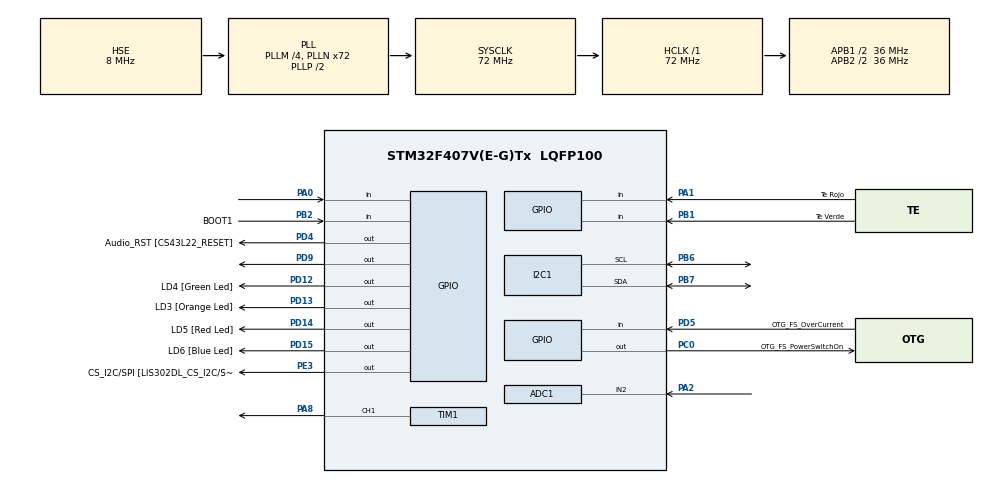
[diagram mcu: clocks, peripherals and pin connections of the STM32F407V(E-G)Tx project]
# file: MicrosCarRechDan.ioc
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ADC1.Channel-0\#ChannelRegularConversion=ADC_CHANNEL_2
ADC1.NbrOfConversionFlag=1
ADC1.Rank-0\#ChannelRegularConversion=1
ADC1.SamplingTime-0\#ChannelRegularConversion=ADC_SAMPLETIME_3CYCLES
ADC1.master=1
Mcu.Family=STM32F4
Mcu.Name=STM32F407V(E-G)Tx
Mcu.Package=LQFP100
NVIC.PriorityGroup=NVIC_PRIORITYGROUP_0
NVIC.TIM6_DAC_IRQn=true\:0\:0\:false\:false\:true\:true\:true\:true
NVIC.TIM7_IRQn=true\:0\:0\:false\:false\:true\:true\:true\:true
PA0-WKUP.Signal=GPIO_Input
PA1.GPIO_Label=Te Rojo
PA1.GPIO_PuPd=GPIO_PULLDOWN
PA1.Signal=GPIO_Input
PA10.GPIO_Label=OTG_FS_ID
PA10.GPIO_Mode=GPIO_MODE_AF_PP
PA10.GPIO_PuPd=GPIO_NOPULL
PA10.GPIO_Speed=GPIO_SPEED_FREQ_LOW
PA10.Signal=USB_OTG_FS_ID
PA11.GPIO_Label=OTG_FS_DM
PA11.GPIO_Mode=GPIO_MODE_AF_PP
PA11.GPIO_PuPd=GPIO_NOPULL
PA11.GPIO_Speed=GPIO_SPEED_FREQ_LOW
PA11.Signal=USB_OTG_FS_DM
PA12.GPIO_Label=OTG_FS_DP
PA12.GPIO_Mode=GPIO_MODE_AF_PP
PA12.GPIO_PuPd=GPIO_NOPULL
PA12.GPIO_Speed=GPIO_SPEED_FREQ_LOW
PA12.Signal=USB_OTG_FS_DP
PA13.GPIO_Label=SWDIO
PA13.Mode=Serial_Wire
PA13.Signal=SYS_JTMS-SWDIO
PA14.GPIO_Label=SWCLK
PA14.Mode=Serial_Wire
PA14.Signal=SYS_JTCK-SWCLK
PA2.Signal=SharedAnalog_PA2
PA4.GPIO_Label=I2S3_WS [CS43L22_LRCK]
PA4.GPIO_Mode=GPIO_MODE_AF_PP
PA4.GPIO_PuPd=GPIO_NOPULL
PA4.GPIO_Speed=GPIO_SPEED_FREQ_LOW
PA4.Signal=I2S3_WS
PA5.GPIO_Label=SPI1_SCK [LIS302DL_SCL/SPC]
PA5.GPIO_Mode=GPIO_MODE_AF_PP
PA5.GPIO_PuPd=GPIO_NOPULL
PA5.GPIO_Speed=GPIO_SPEED_FREQ_LOW
PA5.Signal=SPI1_SCK
PA6.GPIO_Label=SPI1_MISO [LIS302DL_SDO]
PA6.GPIO_Mode=GPIO_MODE_AF_PP
PA6.GPIO_PuPd=GPIO_NOPULL
PA6.GPIO_Speed=GPIO_SPEED_FREQ_LOW
PA6.Signal=SPI1_MISO
PA7.GPIO_Label=SPI1_MOSI [LIS302DL_SDA/SDI/SDO]
PA7.GPIO_Mode=GPIO_MODE_AF_PP
PA7.GPIO_PuPd=GPIO_NOPULL
PA7.GPIO_Speed=GPIO_SPEED_FREQ_LOW
PA7.Signal=SPI1_MOSI
PA8.Signal=S_TIM1_CH1
PA9.GPIO_Label=VBUS_FS
PA9.GPIO_Mode=GPIO_MODE_INPUT
PA9.GPIO_PuPd=GPIO_NOPULL
PA9.Signal=USB_OTG_FS_VBUS
PB1.GPIO_Label=Te Verde
PB1.GPIO_PuPd=GPIO_PULLDOWN
PB1.Signal=GPIO_Input
PB10.GPIO_Label=CLK_IN [MP45DT02_CLK]
PB10.GPIO_Mode=GPIO_MODE_AF_PP
PB10.GPIO_PuPd=GPIO_NOPULL
PB10.GPIO_Speed=GPIO_SPEED_FREQ_LOW
PB10.Signal=I2S2_CK
PB2.GPIO_Label=BOOT1
PB2.GPIO_Mode=GPIO_MODE_INPUT
PB2.GPIO_PuPd=GPIO_NOPULL
PB2.Signal=GPIO_Input
PB3.GPIO_Label=SWO
PB3.Signal=SYS_JTDO-SWO
PB6.GPIO_Pu=GPIO_PULLUP
PB6.Mode=I2C
PB6.Signal=I2C1_SCL
PB7.GPIO_Pu=GPIO_PULLUP
PB7.Mode=I2C
PB7.Signal=I2C1_SDA
PC0.GPIO_Label=OTG_FS_PowerSwitchOn
PC0.GPIO_PuPd=GPIO_NOPULL
PC0.GPIO_Speed=GPIO_SPEED_FREQ_LOW
PC0.PinState=GPIO_PIN_SET
PC0.Signal=GPIO_Output
PC10.GPIO_Label=I2S3_SCK [CS43L22_SCLK]
PC10.GPIO_Mode=GPIO_MODE_AF_PP
PC10.GPIO_PuPd=GPIO_NOPULL
PC10.GPIO_Speed=GPIO_SPEED_FREQ_LOW
PC10.Signal=I2S3_CK
PC12.GPIO_Label=I2S3_SD [CS43L22_SDIN]
PC12.GPIO_Mode=GPIO_MODE_AF_PP
PC12.GPIO_PuPd=GPIO_NOPULL
PC12.GPIO_Speed=GPIO_SPEED_FREQ_LOW
PC12.Signal=I2S3_SD
PC14-OSC32_IN.GPIO_Label=PC14-OSC32_IN
PC14-OSC32_IN.Signal=RCC_OSC32_IN
PC15-OSC32_OUT.GPIO_Label=PC15-OSC32_OUT
PC15-OSC32_OUT.Signal=RCC_OSC32_OUT
PC3.GPIO_Label=PDM_OUT [MP45DT02_DOUT]
PC3.GPIO_Mode=GPIO_MODE_AF_PP
PC3.GPIO_PuPd=GPIO_NOPULL
PC3.GPIO_Speed=GPIO_SPEED_FREQ_LOW
PC3.Signal=I2S2_SD
PD12.GPIO_Label=LD4 [Green Led]
PD12.GPIO_PuPd=GPIO_NOPULL
PD12.GPIO_Speed=GPIO_SPEED_FREQ_LOW
PD12.Signal=GPIO_Output
PD13.GPIO_Label=LD3 [Orange Led]
PD13.GPIO_PuPd=GPIO_NOPULL
PD13.GPIO_Speed=GPIO_SPEED_FREQ_LOW
PD13.Signal=GPIO_Output
PD14.GPIO_Label=LD5 [Red Led]
PD14.GPIO_PuPd=GPIO_NOPULL
PD14.GPIO_Speed=GPIO_SPEED_FREQ_LOW
PD14.Signal=GPIO_Output
PD15.GPIO_Label=LD6 [Blue Led]
PD15.GPIO_PuPd=GPIO_NOPULL
PD15.GPIO_Speed=GPIO_SPEED_FREQ_LOW
PD15.Signal=GPIO_Output
PD4.GPIO_Label=Audio_RST [CS43L22_RESET]
PD4.GPIO_PuPd=GPIO_NOPULL
PD4.GPIO_Speed=GPIO_SPEED_FREQ_LOW
PD4.Signal=GPIO_Output
PD5.GPIO_Label=OTG_FS_OverCurrent
PD5.GPIO_Mode=GPIO_MODE_INPUT
PD5.GPIO_PuPd=GPIO_NOPULL
PD5.Signal=GPIO_Input
PD9.Signal=GPIO_Output
PE3.GPIO_Label=CS_I2C/SPI [LIS302DL_CS_I2C/SPI]
PE3.GPIO_PuPd=GPIO_NOPULL
PE3.GPIO_Speed=GPIO_SPEED_FREQ_LOW
PE3.Signal=GPIO_Output
PH0-OSC_IN.GPIO_Label=PH0-OSC_IN
PH0-OSC_IN.Mode=HSE-External-Oscillator
PH0-OSC_IN.Signal=RCC_OSC_IN
PH1-OSC_OUT.GPIO_Label=PH1-OSC_OUT
PH1-OSC_OUT.Mode=HSE-External-Oscillator
PH1-OSC_OUT.Signal=RCC_OSC_OUT
ProjectManager.HeapSize=0x200
ProjectManager.StackSize=0x400
ProjectManager.TargetToolchain=STM32CubeIDE
RCC.48MHZClocksFreq_Value=20571428.57142857
RCC.AHBFreq_Value=72000000
RCC.APB1CLKDivider=RCC_HCLK_DIV2
RCC.APB1Freq_Value=36000000
RCC.APB1TimFreq_Value=72000000
RCC.APB2CLKDivider=RCC_HCLK_DIV2
RCC.APB2Freq_Value=36000000
RCC.APB2TimFreq_Value=72000000
RCC.CortexFreq_Value=72000000
RCC.HCLKFreq_Value=72000000
RCC.HSE_VALUE=8000000
RCC.HSI_VALUE=16000000
RCC.LSE_VALUE=32768
RCC.PLLM=4
RCC.PLLN=72
RCC.PLLQ=7
RCC.PLLSourceVirtual=RCC_PLLSOURCE_HSE
RCC.SYSCLKFreq_VALUE=72000000
RCC.SYSCLKSource=RCC_SYSCLKSOURCE_PLLCLK
RCC.VCOOutputFreq_Value=144000000
SH.S_TIM1_CH1.0=TIM1_CH1,PWM Generation1 CH1
SH.SharedAnalog_PA2.0=GPIO_Analog
SH.SharedAnalog_PA2.1=ADC1_IN2,IN2
TIM1.Channel-PWM\ Generation1\ CH1=TIM_CHANNEL_1
TIM1.Period=20000-1
TIM1.Prescaler=72-1
TIM1.Pulse-PWM\ Generation1\ CH1=500
TIM6.AutoReloadPreload=TIM_AUTORELOAD_PRELOAD_DISABLE
TIM6.Period=29999
TIM6.Prescaler=7200-1
TIM7.Period=60000-1
TIM7.Prescaler=7200-1
VP_TIM1_VS_ClockSourceINT.Mode=Internal
VP_TIM6_VS_ClockSourceINT.Mode=Enable_Timer
VP_TIM7_VS_ClockSourceINT.Mode=Enable_Timer
board=STM32F407G-DISC1

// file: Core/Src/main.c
/* USER CODE BEGIN Header */
/**
  ******************************************************************************
  * @file           : main.c
  * @brief          : Main program body
  ******************************************************************************
  * @attention
  *
  * Copyright (c) 2024 STMicroelectronics.
  * All rights reserved.
  *
  * This software is licensed under terms that can be found in the LICENSE file
  * in the root directory of this software component.
  * If no LICENSE file comes with this software, it is provided AS-IS.
  *
  ******************************************************************************
  */
/* USER CODE END Header */
#include "main.h"

/* USER CODE BEGIN Includes */
#include "i2c-lcd.h"
#include "stdio.h"

/* USER CODE END Includes */

ADC_HandleTypeDef hadc1;

I2C_HandleTypeDef hi2c1;

TIM_HandleTypeDef htim1;
TIM_HandleTypeDef htim6;
TIM_HandleTypeDef htim7;

/* USER CODE BEGIN PV */

int16_t potval = 0;
volatile uint8_t estado = 0;
uint8_t te_elegido = 0;
volatile uint8_t esta_abajo = 0;
uint8_t temperatura = 0;

/* USER CODE END PV */

void SystemClock_Config(void);
static void MX_GPIO_Init(void);
static void MX_ADC1_Init(void);
static void MX_TIM6_Init(void);
static void MX_I2C1_Init(void);
static void MX_TIM1_Init(void);
static void MX_TIM7_Init(void);

/* USER CODE BEGIN 0 */
void HAL_TIM_PeriodElapsedCallback(TIM_HandleTypeDef* htim){
	if (htim->Instance == TIM6){

		// SUBIR BOLSA (SERVO A 0º)
		__HAL_TIM_SetCompare(&htim1, TIM_CHANNEL_1, 500);

		esta_abajo = 0;
		estado = 5;
	}

	else if (htim->Instance == TIM7){

		// SUBIR BOLSA (SERVO A 0º)
		__HAL_TIM_SetCompare(&htim1, TIM_CHANNEL_1, 500);

		esta_abajo = 0;
		estado = 5;
	}
}

uint8_t NoRebotes_ReadPin(GPIO_TypeDef *GPIOx, uint16_t GPIO_Pin) {
    static uint32_t ultimo_tick = 0; // Almacena el último tick
    static uint8_t cuenta = 0; // Contador de pulsaciones válidas
    static uint8_t estado = 0; // Estado actual del botón

    // Leemos el estado actual del pin
    if (HAL_GPIO_ReadPin(GPIOx, GPIO_Pin) == GPIO_PIN_SET) {
        // Si el tiempo transcurrido es mayor a 20 ms
        if (HAL_GetTick() - ultimo_tick > 20) {
            ultimo_tick = HAL_GetTick();
            if (HAL_GPIO_ReadPin(GPIOx, GPIO_Pin) == GPIO_PIN_RESET) {
                cuenta = 0;
            } else {
                cuenta++;
            }

            // Si el botón es presionado 3 veces consecutivas
            if (cuenta == 3) {
                cuenta = 0;
                estado = !estado; // Cambiamos el estado del botón
            }
        }
    }

    return estado; // Devolvemos el estado del botón
}

int fila=0;
int col=0;

/* USER CODE END 0 */

int main(void)
{

  /* MCU Configuration--------------------------------------------------------*/

  /* Reset of all peripherals, Initializes the Flash interface and the Systick. */
  HAL_Init();

  /* Configure the system clock */
  SystemClock_Config();

  /* Initialize all configured peripherals */
  MX_GPIO_Init();
  MX_ADC1_Init();
  MX_TIM6_Init();
  MX_I2C1_Init();
  MX_TIM1_Init();
  MX_TIM7_Init();
  /* USER CODE BEGIN 2 */

  HAL_ADC_Start_IT(&hadc1);
  HAL_TIM_PWM_Start(&htim1, TIM_CHANNEL_1);

  /* USER CODE END 2 */

  /* Infinite loop */
  while (1)
  {

    /* USER CODE BEGIN 3 */

	  switch (estado){
	  	  case 0: // ELECCION DE TE

	  		__HAL_TIM_SetCompare(&htim1, TIM_CHANNEL_1, 500);

	  		  lcd_init();
	  		  lcd_clear();
	  		  lcd_cur(0, 0);
	  		  lcd_enviar_string ("(1) TE ROJO");
	  		  lcd_cur(1, 0);
	  		  lcd_enviar_string("(2)TE VERDE");

	  		  // Te Rojo
	  		  if(NoRebotes_ReadPin(GPIOA, GPIO_PIN_1) == GPIO_PIN_SET){
	  			  estado = 1;
	  			  te_elegido = 0;
	  		  }

	  		  // Te Verde
	  		  else if(NoRebotes_ReadPin(GPIOB, GPIO_PIN_1) == GPIO_PIN_SET){
	  			  estado = 2;
	  			  te_elegido = 1;

	  		  }

	  		  break;

		  case 1: //ELEGIMOS EL TÉ ROJO
			  lcd_init();
			  lcd_clear();
			  lcd_cur(0, 0);
			  lcd_enviar_string ("TE ROJO");
			  lcd_cur(1, 0);
			  lcd_enviar_string("Pulse USER");

			  if (NoRebotes_ReadPin(GPIOA, GPIO_PIN_0) == GPIO_PIN_SET) {
				  temperatura = (uint8_t)2000;
				  estado = 3;
			  }

			  break;
		  case 2: //ELEGIMOS EL TÉ VERDE
			  lcd_init();
			  lcd_clear();
			  lcd_cur(0, 0);
			  lcd_enviar_string ("TE VERDE");
			  lcd_cur(1, 0);
			  lcd_enviar_string("Pulse USER");

			  if (NoRebotes_ReadPin(GPIOA, GPIO_PIN_0) == GPIO_PIN_SET) {
				  temperatura = (uint8_t)3500;
				  estado = 3;
			  }
			  break;
		  case 3: // CALENTAR PLACA
			  lcd_init();
			  lcd_clear();
			  lcd_cur(0, 0);
			  lcd_enviar_string ("Preparando...");
			  lcd_cur(1, 0);
			  lcd_enviar_string("por favor espere");

			  // ENCENDEMOS PLACA
			  HAL_GPIO_WritePin(GPIOD, GPIO_PIN_9, 1);

			  // MEDIMOS TEMPERATURA
			  HAL_ADC_Start(&hadc1);

			  if(HAL_ADC_PollForConversion(&hadc1, 200)==HAL_OK){
				  potval = HAL_ADC_GetValue(&hadc1);
			  }

			  if(potval >= temperatura) {
				  // APAGAMOS PLACA
				  HAL_GPIO_WritePin(GPIOD, GPIO_PIN_9, 0);
				  potval = 0;
				  estado = 4;
			  }
			  break;
		  case 4: // MOVER BOLSA DE TE

			 lcd_init();
			 lcd_clear();
			 lcd_cur(0, 0);
			 lcd_enviar_string ("Preparando...");
			 lcd_cur(1, 0);
			 lcd_enviar_string("por favor espere");

			 if(esta_abajo == 0){

				 __HAL_TIM_SetCompare(&htim1, TIM_CHANNEL_1, 2500);
				 esta_abajo = 1;

				 if(te_elegido == 0)
					 HAL_TIM_Base_Start_IT(&htim6);
				 else if(te_elegido == 1)
					 HAL_TIM_Base_Start_IT(&htim7);

				 /*

				 Este sería el código sin temporizadores con interrupciones

				 if(te_elegido == 0)
					 HAL_Delay(3000);
				 else if(te_elegido == 1)
					 HAL_Delay(6000);
				 __HAL_TIM_SetCompare(&htim1, TIM_CHANNEL_1, 500);
				 estado = 5;

				 */

			  }

			  break;
		  case 5: //FINALIZA LA PREPARACIÓN DEL TÉ

			  // LA PLACA ENSEÑA "Tu te esta listo"
			  lcd_init();
			  lcd_clear();
			  lcd_cur(0, 0);
			  lcd_enviar_string ("Listo!");
			  lcd_cur(1, 0);
			  lcd_enviar_string("retire taza");
			  break;
	  }

  }
  /* USER CODE END 3 */
}

void SystemClock_Config(void)
{
  RCC_OscInitTypeDef RCC_OscInitStruct = {0};
  RCC_ClkInitTypeDef RCC_ClkInitStruct = {0};

  /** Configure the main internal regulator output voltage
  */
  __HAL_RCC_PWR_CLK_ENABLE();
  __HAL_PWR_VOLTAGESCALING_CONFIG(PWR_REGULATOR_VOLTAGE_SCALE1);

  /** Initializes the RCC Oscillators according to the specified parameters
  * in the RCC_OscInitTypeDef structure.
  */
  RCC_OscInitStruct.OscillatorType = RCC_OSCILLATORTYPE_HSE;
  RCC_OscInitStruct.HSEState = RCC_HSE_ON;
  RCC_OscInitStruct.PLL.PLLState = RCC_PLL_ON;
  RCC_OscInitStruct.PLL.PLLSource = RCC_PLLSOURCE_HSE;
  RCC_OscInitStruct.PLL.PLLM = 4;
  RCC_OscInitStruct.PLL.PLLN = 72;
  RCC_OscInitStruct.PLL.PLLP = RCC_PLLP_DIV2;
  RCC_OscInitStruct.PLL.PLLQ = 7;
  if (HAL_RCC_OscConfig(&RCC_OscInitStruct) != HAL_OK)
  {
    Error_Handler();
  }

  /** Initializes the CPU, AHB and APB buses clocks
  */
  RCC_ClkInitStruct.ClockType = RCC_CLOCKTYPE_HCLK|RCC_CLOCKTYPE_SYSCLK
                              |RCC_CLOCKTYPE_PCLK1|RCC_CLOCKTYPE_PCLK2;
  RCC_ClkInitStruct.SYSCLKSource = RCC_SYSCLKSOURCE_PLLCLK;
  RCC_ClkInitStruct.AHBCLKDivider = RCC_SYSCLK_DIV1;
  RCC_ClkInitStruct.APB1CLKDivider = RCC_HCLK_DIV2;
  RCC_ClkInitStruct.APB2CLKDivider = RCC_HCLK_DIV2;

  if (HAL_RCC_ClockConfig(&RCC_ClkInitStruct, FLASH_LATENCY_2) != HAL_OK)
  {
    Error_Handler();
  }
}

static void MX_ADC1_Init(void)
{

  ADC_ChannelConfTypeDef sConfig = {0};

  /** Configure the global features of the ADC (Clock, Resolution, Data Alignment and number of conversion)
  */
  hadc1.Instance = ADC1;
  hadc1.Init.ClockPrescaler = ADC_CLOCK_SYNC_PCLK_DIV2;
  hadc1.Init.Resolution = ADC_RESOLUTION_12B;
  hadc1.Init.ScanConvMode = DISABLE;
  hadc1.Init.ContinuousConvMode = DISABLE;
  hadc1.Init.DiscontinuousConvMode = DISABLE;
  hadc1.Init.ExternalTrigConvEdge = ADC_EXTERNALTRIGCONVEDGE_NONE;
  hadc1.Init.ExternalTrigConv = ADC_SOFTWARE_START;
  hadc1.Init.DataAlign = ADC_DATAALIGN_RIGHT;
  hadc1.Init.NbrOfConversion = 1;
  hadc1.Init.DMAContinuousRequests = DISABLE;
  hadc1.Init.EOCSelection = ADC_EOC_SINGLE_CONV;
  if (HAL_ADC_Init(&hadc1) != HAL_OK)
  {
    Error_Handler();
  }

  /** Configure for the selected ADC regular channel its corresponding rank in the sequencer and its sample time.
  */
  sConfig.Channel = ADC_CHANNEL_2;
  sConfig.Rank = 1;
  sConfig.SamplingTime = ADC_SAMPLETIME_3CYCLES;
  if (HAL_ADC_ConfigChannel(&hadc1, &sConfig) != HAL_OK)
  {
    Error_Handler();
  }

}

static void MX_I2C1_Init(void)
{

  hi2c1.Instance = I2C1;
  hi2c1.Init.ClockSpeed = 100000;
  hi2c1.Init.DutyCycle = I2C_DUTYCYCLE_2;
  hi2c1.Init.OwnAddress1 = 0;
  hi2c1.Init.AddressingMode = I2C_ADDRESSINGMODE_7BIT;
  hi2c1.Init.DualAddressMode = I2C_DUALADDRESS_DISABLE;
  hi2c1.Init.OwnAddress2 = 0;
  hi2c1.Init.GeneralCallMode = I2C_GENERALCALL_DISABLE;
  hi2c1.Init.NoStretchMode = I2C_NOSTRETCH_DISABLE;
  if (HAL_I2C_Init(&hi2c1) != HAL_OK)
  {
    Error_Handler();
  }

}

static void MX_TIM1_Init(void)
{

  TIM_ClockConfigTypeDef sClockSourceConfig = {0};
  TIM_MasterConfigTypeDef sMasterConfig = {0};
  TIM_OC_InitTypeDef sConfigOC = {0};
  TIM_BreakDeadTimeConfigTypeDef sBreakDeadTimeConfig = {0};

  htim1.Instance = TIM1;
  htim1.Init.Prescaler = 72-1;
  htim1.Init.CounterMode = TIM_COUNTERMODE_UP;
  htim1.Init.Period = 20000-1;
  htim1.Init.ClockDivision = TIM_CLOCKDIVISION_DIV1;
  htim1.Init.RepetitionCounter = 0;
  htim1.Init.AutoReloadPreload = TIM_AUTORELOAD_PRELOAD_DISABLE;
  if (HAL_TIM_Base_Init(&htim1) != HAL_OK)
  {
    Error_Handler();
  }
  sClockSourceConfig.ClockSource = TIM_CLOCKSOURCE_INTERNAL;
  if (HAL_TIM_ConfigClockSource(&htim1, &sClockSourceConfig) != HAL_OK)
  {
    Error_Handler();
  }
  if (HAL_TIM_PWM_Init(&htim1) != HAL_OK)
  {
    Error_Handler();
  }
  sMasterConfig.MasterOutputTrigger = TIM_TRGO_RESET;
  sMasterConfig.MasterSlaveMode = TIM_MASTERSLAVEMODE_DISABLE;
  if (HAL_TIMEx_MasterConfigSynchronization(&htim1, &sMasterConfig) != HAL_OK)
  {
    Error_Handler();
  }
  sConfigOC.OCMode = TIM_OCMODE_PWM1;
  sConfigOC.Pulse = 500;
  sConfigOC.OCPolarity = TIM_OCPOLARITY_HIGH;
  sConfigOC.OCNPolarity = TIM_OCNPOLARITY_HIGH;
  sConfigOC.OCFastMode = TIM_OCFAST_DISABLE;
  sConfigOC.OCIdleState = TIM_OCIDLESTATE_RESET;
  sConfigOC.OCNIdleState = TIM_OCNIDLESTATE_RESET;
  if (HAL_TIM_PWM_ConfigChannel(&htim1, &sConfigOC, TIM_CHANNEL_1) != HAL_OK)
  {
    Error_Handler();
  }
  sBreakDeadTimeConfig.OffStateRunMode = TIM_OSSR_DISABLE;
  sBreakDeadTimeConfig.OffStateIDLEMode = TIM_OSSI_DISABLE;
  sBreakDeadTimeConfig.LockLevel = TIM_LOCKLEVEL_OFF;
  sBreakDeadTimeConfig.DeadTime = 0;
  sBreakDeadTimeConfig.BreakState = TIM_BREAK_DISABLE;
  sBreakDeadTimeConfig.BreakPolarity = TIM_BREAKPOLARITY_HIGH;
  sBreakDeadTimeConfig.AutomaticOutput = TIM_AUTOMATICOUTPUT_DISABLE;
  if (HAL_TIMEx_ConfigBreakDeadTime(&htim1, &sBreakDeadTimeConfig) != HAL_OK)
  {
    Error_Handler();
  }
  HAL_TIM_MspPostInit(&htim1);

}

static void MX_TIM6_Init(void)
{

  TIM_MasterConfigTypeDef sMasterConfig = {0};

  htim6.Instance = TIM6;
  htim6.Init.Prescaler = 7200-1;
  htim6.Init.CounterMode = TIM_COUNTERMODE_UP;
  htim6.Init.Period = 29999;
  htim6.Init.AutoReloadPreload = TIM_AUTORELOAD_PRELOAD_DISABLE;
  if (HAL_TIM_Base_Init(&htim6) != HAL_OK)
  {
    Error_Handler();
  }
  sMasterConfig.MasterOutputTrigger = TIM_TRGO_RESET;
  sMasterConfig.MasterSlaveMode = TIM_MASTERSLAVEMODE_DISABLE;
  if (HAL_TIMEx_MasterConfigSynchronization(&htim6, &sMasterConfig) != HAL_OK)
  {
    Error_Handler();
  }

}

static void MX_TIM7_Init(void)
{

  TIM_MasterConfigTypeDef sMasterConfig = {0};

  htim7.Instance = TIM7;
  htim7.Init.Prescaler = 7200-1;
  htim7.Init.CounterMode = TIM_COUNTERMODE_UP;
  htim7.Init.Period = 60000-1;
  htim7.Init.AutoReloadPreload = TIM_AUTORELOAD_PRELOAD_DISABLE;
  if (HAL_TIM_Base_Init(&htim7) != HAL_OK)
  {
    Error_Handler();
  }
  sMasterConfig.MasterOutputTrigger = TIM_TRGO_RESET;
  sMasterConfig.MasterSlaveMode = TIM_MASTERSLAVEMODE_DISABLE;
  if (HAL_TIMEx_MasterConfigSynchronization(&htim7, &sMasterConfig) != HAL_OK)
  {
    Error_Handler();
  }

}

static void MX_GPIO_Init(void)
{
  GPIO_InitTypeDef GPIO_InitStruct = {0};

  /* GPIO Ports Clock Enable */
  __HAL_RCC_GPIOE_CLK_ENABLE();
  __HAL_RCC_GPIOC_CLK_ENABLE();
  __HAL_RCC_GPIOH_CLK_ENABLE();
  __HAL_RCC_GPIOA_CLK_ENABLE();
  __HAL_RCC_GPIOB_CLK_ENABLE();
  __HAL_RCC_GPIOD_CLK_ENABLE();

  /*Configure GPIO pin Output Level */
  HAL_GPIO_WritePin(CS_I2C_SPI_GPIO_Port, CS_I2C_SPI_Pin, GPIO_PIN_RESET);

  /*Configure GPIO pin Output Level */
  HAL_GPIO_WritePin(OTG_FS_PowerSwitchOn_GPIO_Port, OTG_FS_PowerSwitchOn_Pin, GPIO_PIN_SET);

  /*Configure GPIO pin Output Level */
  HAL_GPIO_WritePin(GPIOD, GPIO_PIN_9|LD4_Pin|LD3_Pin|LD5_Pin
                          |LD6_Pin|Audio_RST_Pin, GPIO_PIN_RESET);

  /*Configure GPIO pin : CS_I2C_SPI_Pin */
  GPIO_InitStruct.Pin = CS_I2C_SPI_Pin;
  GPIO_InitStruct.Mode = GPIO_MODE_OUTPUT_PP;
  GPIO_InitStruct.Pull = GPIO_NOPULL;
  GPIO_InitStruct.Speed = GPIO_SPEED_FREQ_LOW;
  HAL_GPIO_Init(CS_I2C_SPI_GPIO_Port, &GPIO_InitStruct);

  /*Configure GPIO pin : OTG_FS_PowerSwitchOn_Pin */
  GPIO_InitStruct.Pin = OTG_FS_PowerSwitchOn_Pin;
  GPIO_InitStruct.Mode = GPIO_MODE_OUTPUT_PP;
  GPIO_InitStruct.Pull = GPIO_NOPULL;
  GPIO_InitStruct.Speed = GPIO_SPEED_FREQ_LOW;
  HAL_GPIO_Init(OTG_FS_PowerSwitchOn_GPIO_Port, &GPIO_InitStruct);

  /*Configure GPIO pin : PDM_OUT_Pin */
  GPIO_InitStruct.Pin = PDM_OUT_Pin;
  GPIO_InitStruct.Mode = GPIO_MODE_AF_PP;
  GPIO_InitStruct.Pull = GPIO_NOPULL;
  GPIO_InitStruct.Speed = GPIO_SPEED_FREQ_LOW;
  GPIO_InitStruct.Alternate = GPIO_AF5_SPI2;
  HAL_GPIO_Init(PDM_OUT_GPIO_Port, &GPIO_InitStruct);

  /*Configure GPIO pin : PA0 */
  GPIO_InitStruct.Pin = GPIO_PIN_0;
  GPIO_InitStruct.Mode = GPIO_MODE_INPUT;
  GPIO_InitStruct.Pull = GPIO_NOPULL;
  HAL_GPIO_Init(GPIOA, &GPIO_InitStruct);

  /*Configure GPIO pin : Te_Rojo_Pin */
  GPIO_InitStruct.Pin = Te_Rojo_Pin;
  GPIO_InitStruct.Mode = GPIO_MODE_INPUT;
  GPIO_InitStruct.Pull = GPIO_PULLDOWN;
  HAL_GPIO_Init(Te_Rojo_GPIO_Port, &GPIO_InitStruct);

  /*Configure GPIO pin : I2S3_WS_Pin */
  GPIO_InitStruct.Pin = I2S3_WS_Pin;
  GPIO_InitStruct.Mode = GPIO_MODE_AF_PP;
  GPIO_InitStruct.Pull = GPIO_NOPULL;
  GPIO_InitStruct.Speed = GPIO_SPEED_FREQ_LOW;
  GPIO_InitStruct.Alternate = GPIO_AF6_SPI3;
  HAL_GPIO_Init(I2S3_WS_GPIO_Port, &GPIO_InitStruct);

  /*Configure GPIO pins : SPI1_SCK_Pin SPI1_MISO_Pin SPI1_MOSI_Pin */
  GPIO_InitStruct.Pin = SPI1_SCK_Pin|SPI1_MISO_Pin|SPI1_MOSI_Pin;
  GPIO_InitStruct.Mode = GPIO_MODE_AF_PP;
  GPIO_InitStruct.Pull = GPIO_NOPULL;
  GPIO_InitStruct.Speed = GPIO_SPEED_FREQ_LOW;
  GPIO_InitStruct.Alternate = GPIO_AF5_SPI1;
  HAL_GPIO_Init(GPIOA, &GPIO_InitStruct);

  /*Configure GPIO pin : Te_Verde_Pin */
  GPIO_InitStruct.Pin = Te_Verde_Pin;
  GPIO_InitStruct.Mode = GPIO_MODE_INPUT;
  GPIO_InitStruct.Pull = GPIO_PULLDOWN;
  HAL_GPIO_Init(Te_Verde_GPIO_Port, &GPIO_InitStruct);

  /*Configure GPIO pin : BOOT1_Pin */
  GPIO_InitStruct.Pin = BOOT1_Pin;
  GPIO_InitStruct.Mode = GPIO_MODE_INPUT;
  GPIO_InitStruct.Pull = GPIO_NOPULL;
  HAL_GPIO_Init(BOOT1_GPIO_Port, &GPIO_InitStruct);

  /*Configure GPIO pin : CLK_IN_Pin */
  GPIO_InitStruct.Pin = CLK_IN_Pin;
  GPIO_InitStruct.Mode = GPIO_MODE_AF_PP;
  GPIO_InitStruct.Pull = GPIO_NOPULL;
  GPIO_InitStruct.Speed = GPIO_SPEED_FREQ_LOW;
  GPIO_InitStruct.Alternate = GPIO_AF5_SPI2;
  HAL_GPIO_Init(CLK_IN_GPIO_Port, &GPIO_InitStruct);

  /*Configure GPIO pins : PD9 LD4_Pin LD3_Pin LD5_Pin
                           LD6_Pin Audio_RST_Pin */
  GPIO_InitStruct.Pin = GPIO_PIN_9|LD4_Pin|LD3_Pin|LD5_Pin
                          |LD6_Pin|Audio_RST_Pin;
  GPIO_InitStruct.Mode = GPIO_MODE_OUTPUT_PP;
  GPIO_InitStruct.Pull = GPIO_NOPULL;
  GPIO_InitStruct.Speed = GPIO_SPEED_FREQ_LOW;
  HAL_GPIO_Init(GPIOD, &GPIO_InitStruct);

  /*Configure GPIO pin : VBUS_FS_Pin */
  GPIO_InitStruct.Pin = VBUS_FS_Pin;
  GPIO_InitStruct.Mode = GPIO_MODE_INPUT;
  GPIO_InitStruct.Pull = GPIO_NOPULL;
  HAL_GPIO_Init(VBUS_FS_GPIO_Port, &GPIO_InitStruct);

  /*Configure GPIO pins : OTG_FS_ID_Pin OTG_FS_DM_Pin OTG_FS_DP_Pin */
  GPIO_InitStruct.Pin = OTG_FS_ID_Pin|OTG_FS_DM_Pin|OTG_FS_DP_Pin;
  GPIO_InitStruct.Mode = GPIO_MODE_AF_PP;
  GPIO_InitStruct.Pull = GPIO_NOPULL;
  GPIO_InitStruct.Speed = GPIO_SPEED_FREQ_LOW;
  GPIO_InitStruct.Alternate = GPIO_AF10_OTG_FS;
  HAL_GPIO_Init(GPIOA, &GPIO_InitStruct);

  /*Configure GPIO pins : I2S3_SCK_Pin I2S3_SD_Pin */
  GPIO_InitStruct.Pin = I2S3_SCK_Pin|I2S3_SD_Pin;
  GPIO_InitStruct.Mode = GPIO_MODE_AF_PP;
  GPIO_InitStruct.Pull = GPIO_NOPULL;
  GPIO_InitStruct.Speed = GPIO_SPEED_FREQ_LOW;
  GPIO_InitStruct.Alternate = GPIO_AF6_SPI3;
  HAL_GPIO_Init(GPIOC, &GPIO_InitStruct);

  /*Configure GPIO pin : OTG_FS_OverCurrent_Pin */
  GPIO_InitStruct.Pin = OTG_FS_OverCurrent_Pin;
  GPIO_InitStruct.Mode = GPIO_MODE_INPUT;
  GPIO_InitStruct.Pull = GPIO_NOPULL;
  HAL_GPIO_Init(OTG_FS_OverCurrent_GPIO_Port, &GPIO_InitStruct);

}

void Error_Handler(void)
{
  __disable_irq();
  while (1)
  {
  }
}
